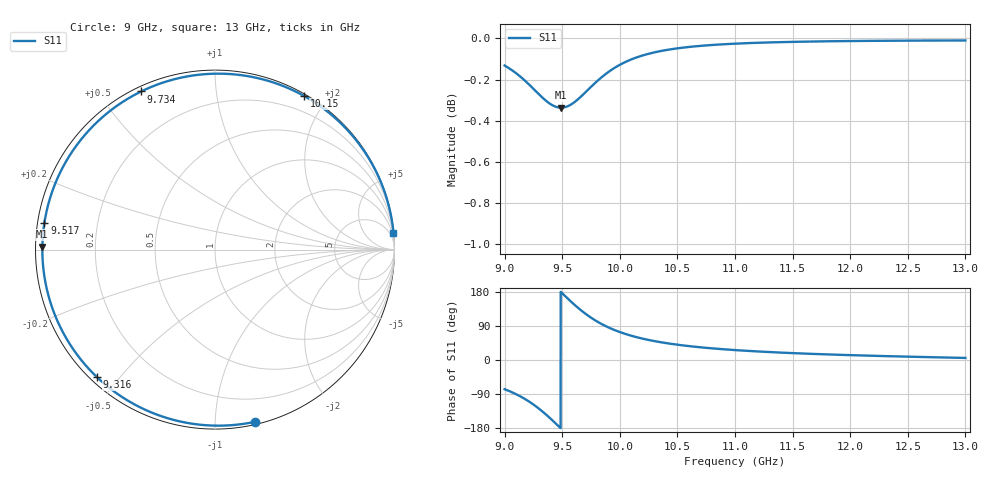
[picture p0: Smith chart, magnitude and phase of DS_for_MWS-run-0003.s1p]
! TOUCHSTONE file generated by CST DESIGN STUDIO
! Date and time: Tue Feb  4 13:45:10 2025
! Project name: C:\Work\MatlabApps\UnitCellOptimizationMatlab\CST\unitcell.cst
! Tree item: Tasks\Sweep1\SPara1\S-Parameters
! Header version: 2024
! Port assignment regex: !\s*Touchstone port\s*([0-9]+)\s*=\s*(CST MWS port|CST DES external port|CST DES block port)\s*(.+)\s* \(\"(.*)\"\)(\s*mode\s*([0-9]+))?.*
! Touchstone port assignment:
! Touchstone port 1 = CST DES external port 1 ("")
# GHz S MA R 50
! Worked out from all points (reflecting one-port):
!   4001 points, 9 GHz to 13 GHz, reference 50 ohm
!   lowest |S11| = -0.3 dB at 9.49 GHz (marker M1), VSWR 51.64, Z = 0.968 + j0.443 ohm
!   phase of S11 starts at -77 deg and turns -278 deg over the sweep
!   S11 on the Smith chart (normalised r, x): 9 GHz: 0.02, -1.26; 9.316 GHz: 0.02, -0.44; 9.517 GHz: 0.02, +0.08; 9.734 GHz: 0.02, +0.64; 10.15 GHz: 0.02, +1.74; 13 GHz: 0, +21
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9  0.985 -77.0
9.081  0.9816 -87.5
9.181  0.9764 -103.7
9.251  0.9722 -117.7
9.316  0.9682 -132.7
9.362  0.9656 -144.6
9.411  0.9635 -158.1
9.451  0.9624 -169.6
9.49  0.962 179.0
9.5  0.962 176.0
9.517  0.9622 171.1
9.57  0.9635 155.8
9.63  0.9662 139.6
9.681  0.9691 126.9
9.734  0.9723 115.0
9.788  0.9755 104.3
9.848  0.9788 94.0
9.923  0.9824 83.0
10  0.9854 73.7
10.15  0.9895 59.9
10.309  0.9924 49.4
10.5  0.9945 40.4
10.722  0.996 32.9
11  0.9971 26.2
11.5  0.9981 18.2
12  0.9986 12.8
12.5  0.9988 8.8
13  0.9989 5.5
